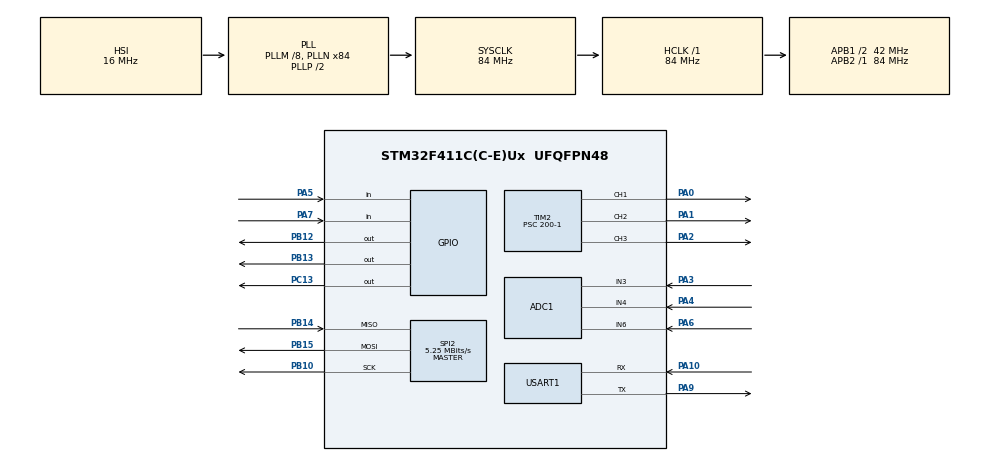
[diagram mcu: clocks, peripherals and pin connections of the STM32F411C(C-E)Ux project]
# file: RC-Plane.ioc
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ADC1.Channel-3\#ChannelRegularConversion=ADC_CHANNEL_3
ADC1.Channel-4\#ChannelRegularConversion=ADC_CHANNEL_4
ADC1.Channel-5\#ChannelRegularConversion=ADC_CHANNEL_6
ADC1.ContinuousConvMode=ENABLE
ADC1.DMAContinuousRequests=ENABLE
ADC1.NbrOfConversion=3
ADC1.NbrOfConversionFlag=1
ADC1.Rank-3\#ChannelRegularConversion=1
ADC1.Rank-4\#ChannelRegularConversion=2
ADC1.Rank-5\#ChannelRegularConversion=3
ADC1.SamplingTime-3\#ChannelRegularConversion=ADC_SAMPLETIME_480CYCLES
ADC1.SamplingTime-4\#ChannelRegularConversion=ADC_SAMPLETIME_480CYCLES
ADC1.SamplingTime-5\#ChannelRegularConversion=ADC_SAMPLETIME_480CYCLES
ADC1.master=1
Dma.ADC1.0.Direction=DMA_PERIPH_TO_MEMORY
Dma.ADC1.0.FIFOMode=DMA_FIFOMODE_DISABLE
Dma.ADC1.0.Instance=DMA2_Stream0
Dma.ADC1.0.MemDataAlignment=DMA_MDATAALIGN_WORD
Dma.ADC1.0.MemInc=DMA_MINC_ENABLE
Dma.ADC1.0.Mode=DMA_CIRCULAR
Dma.ADC1.0.PeriphDataAlignment=DMA_PDATAALIGN_WORD
Dma.ADC1.0.PeriphInc=DMA_PINC_DISABLE
Dma.ADC1.0.Priority=DMA_PRIORITY_HIGH
Dma.Request0=ADC1
Mcu.Family=STM32F4
Mcu.Name=STM32F411C(C-E)Ux
Mcu.Package=UFQFPN48
NVIC.ADC_IRQn=true\:1\:0\:true\:false\:true\:true\:true\:true
NVIC.DMA2_Stream0_IRQn=true\:0\:0\:false\:false\:true\:false\:true\:true
NVIC.PriorityGroup=NVIC_PRIORITYGROUP_4
PA0-WKUP.Signal=S_TIM2_CH1_ETR
PA1.Signal=S_TIM2_CH2
PA10.Mode=Asynchronous
PA10.Signal=USART1_RX
PA13.Mode=Serial_Wire
PA13.Signal=SYS_JTMS-SWDIO
PA14.Mode=Serial_Wire
PA14.Signal=SYS_JTCK-SWCLK
PA2.Signal=S_TIM2_CH3
PA3.Signal=ADCx_IN3
PA4.Signal=ADCx_IN4
PA5.GPIO_PuPd=GPIO_PULLUP
PA5.Signal=GPIO_Input
PA6.Signal=ADCx_IN6
PA7.GPIO_PuPd=GPIO_PULLUP
PA7.Signal=GPIO_Input
PA9.Mode=Asynchronous
PA9.Signal=USART1_TX
PB10.Mode=Full_Duplex_Master
PB10.Signal=SPI2_SCK
PB12.Signal=GPIO_Output
PB13.Signal=GPIO_Output
PB14.Mode=Full_Duplex_Master
PB14.Signal=SPI2_MISO
PB15.Mode=Full_Duplex_Master
PB15.Signal=SPI2_MOSI
PC13-ANTI_TAMP.Signal=GPIO_Output
PH0\ -\ OSC_IN.Mode=HSE-External-Oscillator
PH0\ -\ OSC_IN.Signal=RCC_OSC_IN
PH1\ -\ OSC_OUT.Mode=HSE-External-Oscillator
PH1\ -\ OSC_OUT.Signal=RCC_OSC_OUT
ProjectManager.HeapSize=0x200
ProjectManager.StackSize=0x400
ProjectManager.TargetToolchain=CMake
RCC.48MHZClocksFreq_Value=42000000
RCC.AHBFreq_Value=84000000
RCC.APB1CLKDivider=RCC_HCLK_DIV2
RCC.APB1Freq_Value=42000000
RCC.APB1TimFreq_Value=84000000
RCC.APB2Freq_Value=84000000
RCC.APB2TimFreq_Value=84000000
RCC.CortexFreq_Value=84000000
RCC.HCLKFreq_Value=84000000
RCC.HSE_VALUE=25000000
RCC.HSI_VALUE=16000000
RCC.LSE_VALUE=32768
RCC.PLLM=8
RCC.PLLN=84
RCC.SYSCLKFreq_VALUE=84000000
RCC.SYSCLKSource=RCC_SYSCLKSOURCE_PLLCLK
RCC.VCOOutputFreq_Value=168000000
SH.ADCx_IN3.0=ADC1_IN3,IN3
SH.ADCx_IN4.0=ADC1_IN4,IN4
SH.ADCx_IN6.0=ADC1_IN6,IN6
SH.S_TIM2_CH1_ETR.0=TIM2_CH1,PWM Generation1 CH1
SH.S_TIM2_CH2.0=TIM2_CH2,PWM Generation2 CH2
SH.S_TIM2_CH3.0=TIM2_CH3,PWM Generation3 CH3
SPI2.BaudRatePrescaler=SPI_BAUDRATEPRESCALER_8
SPI2.CalculateBaudRate=5.25 MBits/s
SPI2.Direction=SPI_DIRECTION_2LINES
SPI2.Mode=SPI_MODE_MASTER
SPI2.VirtualType=VM_MASTER
TIM2.Channel-PWM\ Generation1\ CH1=TIM_CHANNEL_1
TIM2.Channel-PWM\ Generation2\ CH2=TIM_CHANNEL_2
TIM2.Channel-PWM\ Generation3\ CH3=TIM_CHANNEL_3
TIM2.Prescaler=200-1
USART1.VirtualMode=VM_ASYNC
board=custom

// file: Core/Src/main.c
/* USER CODE BEGIN Header */
/**
  ******************************************************************************
  * @file           : main.c
  * @brief          : Main program body
  ******************************************************************************
  * @attention
  *
  * Copyright (c) 2026 STMicroelectronics.
  * All rights reserved.
  *
  * This software is licensed under terms that can be found in the LICENSE file
  * in the root directory of this software component.
  * If no LICENSE file comes with this software, it is provided AS-IS.
  *
  ******************************************************************************
  */
/* USER CODE END Header */
#include "main.h"
#include "adc.h"
#include "dma.h"
#include "spi.h"
#include "tim.h"
#include "usart.h"
#include "gpio.h"

void SystemClock_Config(void);

/* USER CODE BEGIN 0 */
// ======================================================
//                    PROJECT SPECS
// ======================================================
/* Data Flow:
    Joystick -> Transmitter -> Receiver -> Servos or BLDC
    Remote Controller:
    > Left Joystick:
      - Pitch (Up/Down) & Roll (Left/Right)
      - Button: Calibrate Motors
    > Right Joystick:
      - Throttle (Up)
    RC Plane:
    >
 */

/* *** Brainstorming Tests: ***
    OTHER
    > BLDC & Servo calibration
    > 2x STM32's communicating with each other
    > State machines??? -> Boot, Calibration, Connect, Manual Flight, Failsafe
    > Interrupts, Tasks, etc.
    EASIEST
    > LEFT Joystick-to-Servo Mapping (NO NRF):
      - TEST 1A: Map ADC Value Range to Servo Angles
      - TEST 1B: Map specific ADC Value (x, y) to specific Servo Angles
        - ADC: 0-4095
        - Servo: 0-30-degrees
        - NOTE: How sensitive?
    MEDIUM
    > RIGHT Joystick-to-BLDC (NO NRF):
      - TEST 2A: Map ADC Value Range to BLDC motor speeds
    HARD
    > LEFT Joystick-to-Servo Mapping (NRF):
      - SAME Tests (TEST 1A - 1B), but with packets.
      - TEST 3A: "Hello World" -> read nRF's default registers.
        - Send command requesting STATUS register
      - TEST 3B: Write to payload, then read it.
      - TEST 3C: Blink LED packet.
 */
// ======================================================
//             GLOBAL DEFINITIONS & TESTS
// ======================================================
#define SERIAL_INTERFACE

// ======================================================
//                    CODE FOR RC PLANE
// ======================================================
#define RC_PLANE
// #define SERVO_MOTORS
// #define RECEIVER

// ======================================================
//              CODE FOR REMOTE CONTROLLER
// ======================================================
#define REMOTE_CONTROLLER
#define ADC_JOYSTICKS
// #define SERVO_MOTORS
// #define TRANSMITTER

#if defined(REMOTE_CONTROLLER)
  #if defined(ADC_JOYSTICKS)
    #include <stdio.h>
    #include "string.h"
    #define BUFFER_SIZE 50
    #define XY_VALUES    2 // readValue[0] : x, readValue[1] : y

    uint16_t xValue, yValue;            // 16-bit because ADC is 12-bit
    uint32_t readValue[XY_VALUES];      // Stores ADC values
    uint8_t  button_state;              // Checks whether the button was clicked or not
    char buffer[BUFFER_SIZE];           // Serial out of ADC Values
  #endif
#endif

#if defined(RC_PLANE)
  #if defined(SERVO_MOTORS)
    void Set_Servo_Angle(TIM_HandleTypeDef* htim, uint32_t channel, uint8_t angle);
  #endif
#endif
/* USER CODE END 0 */

int main(void)
{

  /* MCU Configuration--------------------------------------------------------*/

  /* Reset of all peripherals, Initializes the Flash interface and the Systick. */
  HAL_Init();

  /* USER CODE BEGIN Init */
  // HAL_TIM_PWM_Start(&htim2, TIM_CHANNEL_1);
  // HAL_TIM_PWM_Start(&htim2, TIM_CHANNEL_2);
  // HAL_TIM_PWM_Start(&htim2, TIM_CHANNEL_3);
  /* USER CODE END Init */

  /* Configure the system clock */
  SystemClock_Config();

  /* Initialize all configured peripherals */
  MX_GPIO_Init();
  MX_DMA_Init();
  MX_TIM2_Init();
  MX_ADC1_Init();
  MX_USART1_UART_Init();
  MX_SPI2_Init();
  /* USER CODE BEGIN 2 */
  #if defined(ADC_JOYSTICKS)
    // Start ADC in DMA Mode:
    HAL_ADC_Start_DMA(&hadc1, (uint32_t*)readValue, XY_VALUES);
  #endif
  /* USER CODE END 2 */

  /* Infinite loop */
  while (1)
  {

    /* USER CODE BEGIN 3 */
    for(uint8_t i = 0; i < hadc1.Init.NbrOfConversion; i++) {
      xValue = (uint16_t) readValue[0];
      yValue = (uint16_t) readValue[1];
    }
    button_state = HAL_GPIO_ReadPin(GPIOA, GPIO_PIN_5);
    snprintf(buffer, sizeof(buffer), "xValue: %d, yValue: %d, button: %d\r\n", xValue, yValue, button_state);
    HAL_UART_Transmit(&huart1, (uint8_t*)buffer, sizeof(buffer), HAL_MAX_DELAY);
    HAL_Delay(300);
  }
  /* USER CODE END 3 */
}

void SystemClock_Config(void)
{
  RCC_OscInitTypeDef RCC_OscInitStruct = {0};
  RCC_ClkInitTypeDef RCC_ClkInitStruct = {0};

  /** Configure the main internal regulator output voltage
  */
  __HAL_RCC_PWR_CLK_ENABLE();
  __HAL_PWR_VOLTAGESCALING_CONFIG(PWR_REGULATOR_VOLTAGE_SCALE1);

  /** Initializes the RCC Oscillators according to the specified parameters
  * in the RCC_OscInitTypeDef structure.
  */
  RCC_OscInitStruct.OscillatorType = RCC_OSCILLATORTYPE_HSI;
  RCC_OscInitStruct.HSIState = RCC_HSI_ON;
  RCC_OscInitStruct.HSICalibrationValue = RCC_HSICALIBRATION_DEFAULT;
  RCC_OscInitStruct.PLL.PLLState = RCC_PLL_ON;
  RCC_OscInitStruct.PLL.PLLSource = RCC_PLLSOURCE_HSI;
  RCC_OscInitStruct.PLL.PLLM = 8;
  RCC_OscInitStruct.PLL.PLLN = 84;
  RCC_OscInitStruct.PLL.PLLP = RCC_PLLP_DIV2;
  RCC_OscInitStruct.PLL.PLLQ = 4;
  if (HAL_RCC_OscConfig(&RCC_OscInitStruct) != HAL_OK)
  {
    Error_Handler();
  }

  /** Initializes the CPU, AHB and APB buses clocks
  */
  RCC_ClkInitStruct.ClockType = RCC_CLOCKTYPE_HCLK|RCC_CLOCKTYPE_SYSCLK
                              |RCC_CLOCKTYPE_PCLK1|RCC_CLOCKTYPE_PCLK2;
  RCC_ClkInitStruct.SYSCLKSource = RCC_SYSCLKSOURCE_PLLCLK;
  RCC_ClkInitStruct.AHBCLKDivider = RCC_SYSCLK_DIV1;
  RCC_ClkInitStruct.APB1CLKDivider = RCC_HCLK_DIV2;
  RCC_ClkInitStruct.APB2CLKDivider = RCC_HCLK_DIV1;

  if (HAL_RCC_ClockConfig(&RCC_ClkInitStruct, FLASH_LATENCY_2) != HAL_OK)
  {
    Error_Handler();
  }
}

/* USER CODE BEGIN 4 */
#if defined(SERVO_MOTORS)
  void Set_Servo_Angle(TIM_HandleTypeDef* htim, uint32_t channel, uint8_t angle) {
    uint32_t pulse_length = 210 + (angle * (1050 - 210) / 180);
    __HAL_TIM_SET_COMPARE(htim, channel, pulse_length);
  }
#endif
/* USER CODE END 4 */

void Error_Handler(void)
{
  __disable_irq();
  while (1)
  {
  }
}
